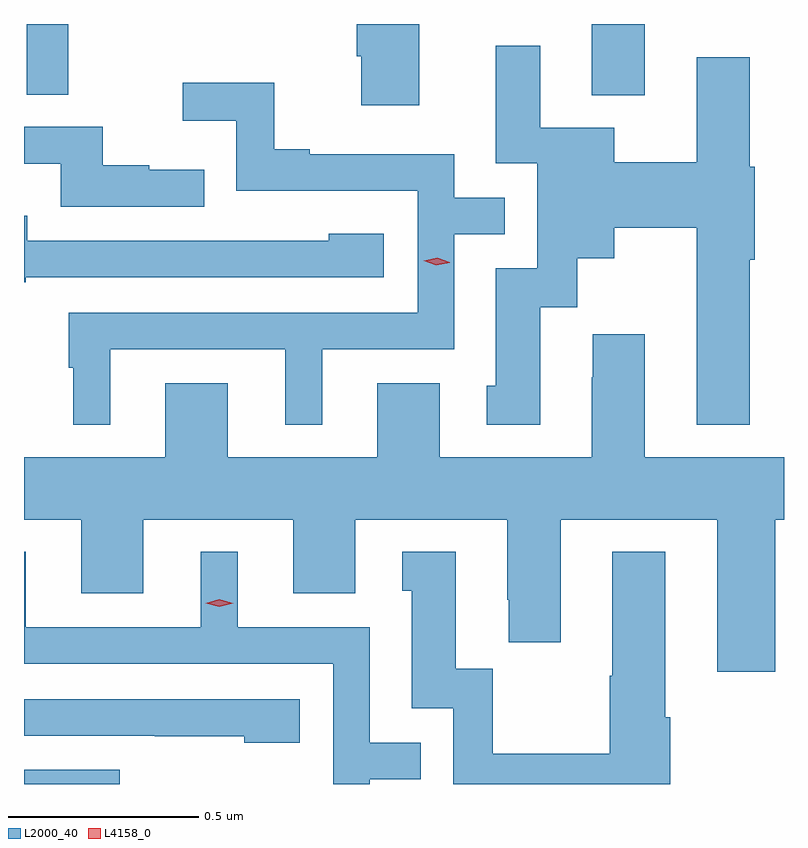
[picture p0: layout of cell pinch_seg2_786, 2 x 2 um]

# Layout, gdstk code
import gdstk
lib = gdstk.Library(unit=1e-6, precision=1e-09)
def R(c, l, rs):  # rectangles x0, y0, x1, y1
    for r in rs: c.add(gdstk.rectangle(r[:2], r[2:], *l))
def P(c, l, *ps):  # polygons
    for p in ps: c.add(gdstk.Polygon(p, *l))
L2000_40 = (2000, 40)
L4158_0 = (4158, 0)

pinch_seg2_786 = lib.new_cell('pinch_seg2_786')
R(pinch_seg2_786, L2000_40, [(733.379,660.26,733.631,660.297), (734.873,662.072,735.013,662.26), (733.386,662.074,733.495,662.26)])
P(pinch_seg2_786, L2000_40, [(734.419,662.26),(734.255,662.26),(734.255,662.175),(734.267,662.175),(734.267,662.046),(734.419,662.046)],
  [(735.289,661.64),(735.302,661.64),(735.302,661.884),(735.289,661.884),(735.289,662.173),(735.149,662.173),(735.149,661.896),(734.932,661.896),(734.932,661.987),(734.737,661.987),(734.737,662.203),(734.621,662.203),(734.621,661.893),(734.73,661.893),(734.73,661.617),(734.621,661.617),(734.621,661.308),(734.597,661.308),(734.597,661.206),(734.737,661.206),(734.737,661.514),(734.835,661.514),(734.835,661.643),(734.932,661.643),(734.932,661.724),(735.149,661.724),(735.149,661.205),(735.289,661.205)],
  [(733.606,661.404),(734.066,661.404),(734.066,661.205),(734.164,661.205),(734.164,661.404),(734.511,661.404),(734.511,661.707),(734.644,661.707),(734.644,661.803),(734.511,661.803),(734.511,661.917),(734.131,661.917),(734.131,661.93),(734.037,661.93),(734.037,662.105),(733.797,662.105),(733.797,662.006),(733.938,662.006),(733.938,661.821),(734.415,661.821),(734.415,661.5),(733.497,661.5),(733.497,661.356),(733.508,661.356),(733.508,661.205),(733.606,661.205)],
  [(733.853,661.876),(733.709,661.876),(733.709,661.888),(733.586,661.888),(733.586,661.989),(733.379,661.989),(733.379,661.892),(733.476,661.892),(733.476,661.779),(733.853,661.779)],
  [(733.383,661.593),(734.326,661.593),(734.326,661.708),(734.181,661.708),(734.181,661.69),(733.945,661.69),(733.945,661.689),(733.387,661.689),(733.387,661.756),(733.379,661.756),(733.379,661.581),(733.383,661.581)],
  [(735.356,660.956),(735.379,660.956),(735.379,661.12),(735.013,661.12),(735.013,661.444),(734.876,661.444),(734.876,661.331),(734.873,661.331),(734.873,661.12),(734.473,661.12),(734.473,661.315),(734.309,661.315),(734.309,661.12),(733.915,661.12),(733.915,661.315),(733.751,661.315),(733.751,661.12),(733.379,661.12),(733.379,660.956),(733.529,660.956),(733.529,660.762),(733.693,660.762),(733.693,660.956),(734.087,660.956),(734.087,660.762),(734.251,660.762),(734.251,660.956),(734.651,660.956),(734.651,660.745),(734.654,660.745),(734.654,660.633),(734.791,660.633),(734.791,660.956),(735.203,660.956),(735.203,660.555),(735.356,660.555)],
  [(734.289,660.273),(734.423,660.273),(734.423,660.369),(734.289,660.369),(734.289,660.672),(733.942,660.672),(733.942,660.871),(733.844,660.871),(733.844,660.672),(733.384,660.672),(733.384,660.871),(733.379,660.871),(733.379,660.576),(734.193,660.576),(734.193,660.26),(734.289,660.26)],
  [(735.08,660.436),(735.067,660.436),(735.067,660.871),(734.927,660.871),(734.927,660.545),(734.92,660.545),(734.92,660.34),(734.613,660.34),(734.613,660.563),(734.515,660.563),(734.515,660.871),(734.375,660.871),(734.375,660.768),(734.399,660.768),(734.399,660.459),(734.508,660.459),(734.508,660.26),(735.08,660.26)],
  [(734.104,660.483),(733.379,660.483),(733.379,660.387),(733.723,660.387),(733.723,660.386),(733.959,660.386),(733.959,660.368),(734.104,660.368)])
P(pinch_seg2_786, L4158_0, [(733.893,660.726),(733.857,660.736),(733.857,660.736),(733.857,660.736),(733.893,660.746),(733.929,660.736),(733.929,660.736),(733.929,660.736)],
  [(734.464,661.625),(734.431,661.637),(734.43,661.637),(734.431,661.637),(734.466,661.645),(734.499,661.633),(734.499,661.632),(734.499,661.632)])

lib.write_gds('pinch_seg2_786.gds')
